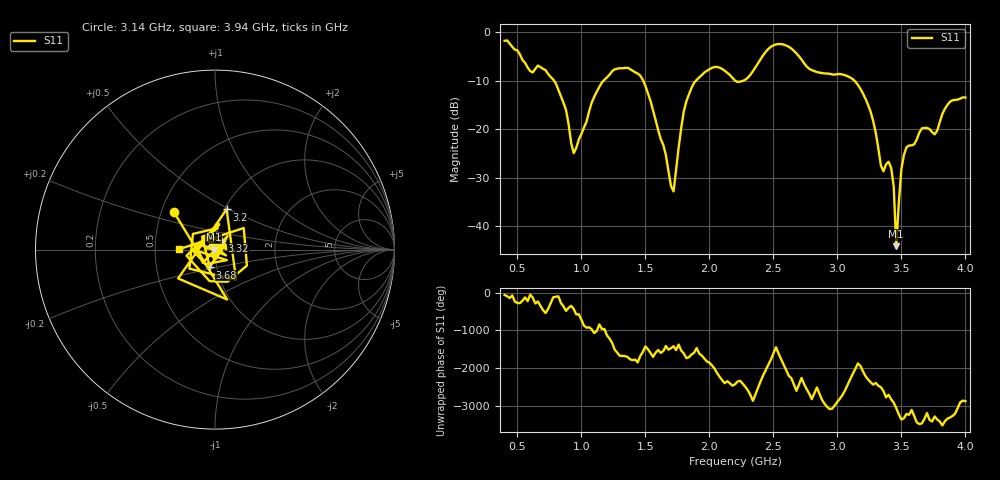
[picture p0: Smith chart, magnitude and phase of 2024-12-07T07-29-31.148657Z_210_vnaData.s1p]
!Created with skrf (http://scikit-rf.org).
# Hz S RI R 50.0
!freq ReS11 ImS11
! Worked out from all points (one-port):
!   181 points, 400 MHz to 4 GHz, reference 50 ohm
!   lowest |S11| = -44.1 dB at 3.46 GHz (marker M1), VSWR 1.01, Z = 49.4 + j0.00599 ohm
!   |S11| at or under -10 dB: 786.2 MHz to 1.173 GHz (386.5 MHz wide, 39.5 % of centre); 1.483 GHz to 1.894 GHz (411.7 MHz wide, 24.4 % of centre); 3.134 GHz to end of sweep (the widest 3 of 4)
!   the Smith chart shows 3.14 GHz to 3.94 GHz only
!   S11 on the Smith chart (normalised r, x): 3.14 GHz: 0.58, +0.27; 3.2 GHz: 1.02, +0.48; 3.32 GHz: 1.08, +0.11; 3.68 GHz: 0.93, -0.19; 3.94 GHz: 0.66, +0.00
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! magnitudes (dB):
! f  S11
! 400 MHz  -1.8
! 860 MHz  -14.5
! 940 MHz  -24.9
! 1.14 GHz  -11.3
! 1.3 GHz  -7.4
! 1.48 GHz  -9.8
! 1.72 GHz  -32.8
! 1.76 GHz  -23.8
! 1.8 GHz  -16.3
! 1.88 GHz  -10.4
! 2.04 GHz  -7.2
! 2.2 GHz  -10.0
! 2.5 GHz  -2.7
! 2.66 GHz  -3.8
! 3.1 GHz  -9.3
! 3.14 GHz  -10.2
! 3.2 GHz  -12.7
! 3.32 GHz  -24.0
! 3.36 GHz  -28.7
! 3.42 GHz  -28.0
! 3.44 GHz  -31.8
! 3.46 GHz  -44.1
! 3.5 GHz  -28.2
! 3.56 GHz  -23.4
! 3.68 GHz  -19.7
! 3.76 GHz  -21.1
! 3.94 GHz  -13.9
! 4 GHz  -13.5
